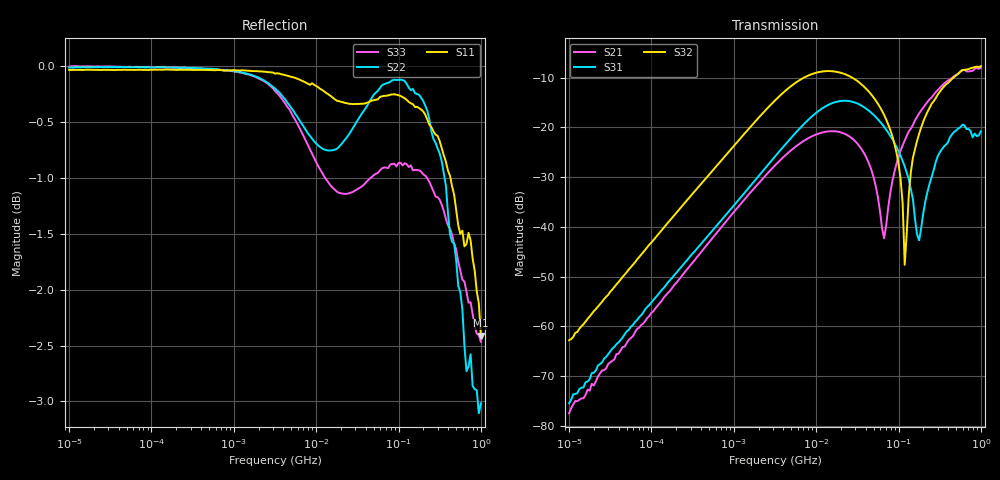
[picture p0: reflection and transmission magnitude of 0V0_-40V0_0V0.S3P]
!Keysight Technologies,E5080A,MY55100144,A.11.70.03
!Date: Monday, November 13, 2017 17:21:34
!Correction: S11(Full 3 Port(1,2,3))
!S12(Full 3 Port(1,2,3))
!S13(Full 3 Port(1,2,3))
!S21(Full 3 Port(1,2,3))
!S22(Full 3 Port(1,2,3))
!S23(Full 3 Port(1,2,3))
!S31(Full 3 Port(1,2,3))
!S32(Full 3 Port(1,2,3))
!S33(Full 3 Port(1,2,3))
!S3P File: Measurements: <S11,S12,S13>,
!<S21,S22,S23>,
!<S31,S32,S33>:Log Frequency Sweep
# Hz S  RI  R 50
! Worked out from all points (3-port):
!   201 points, 10 kHz to 1 GHz, reference 50 ohm
!   strongest paths, dB at 10 kHz, 177.8 kHz, 3.162 MHz, 56.23 MHz, 1 GHz:
!     S32: -62.8, -38.2, -14.6, -15.3, -7.7
!     S31: -75.5, -50.3, -25.9, -18.4, -20.8
!     S21: -77.5, -52.3, -27.6, -34.1, -8.0
!   lowest |S11| = -2.4 dB at 1 GHz (marker M1), VSWR 7.25, Z = 362 + j14 ohm
!   |S11| at or under -10 dB: nowhere
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10000  0.9963 -0.000789  -1.02e-06 0.000142  3.05e-06 0.000166
       7.69e-07 0.000133  0.9987 -0.00319  -8.03e-06 0.000713
       1.17e-05 0.000167  3.62e-06 0.000722  0.9996 -0.00245
3162278  0.92 -0.3721  0.0183 0.0372  0.014 0.0491
         0.0183 0.0372  0.6969 -0.6852  0.0966 0.1601
         0.0139 0.049  0.0968 0.16  0.9348 -0.2764
1.496236e7  0.0724 -0.9672  0.091 0.0102  0.1624 0.0597
            0.0911 0.0101  -0.5335 -0.7457  0.3681 -0.0252
            0.1624 0.0595  0.368 -0.0252  0.4149 -0.781
4.731513e7  -0.823 -0.5042  0.0263 -0.025  0.0949 -0.1018
            0.0264 -0.0251  -0.9535 -0.1672  0.1096 -0.1809
            0.0948 -0.1019  0.1096 -0.1809  -0.5347 -0.7142
6.683439e7  -0.9284 -0.281  0.00717 0.00284  0.0434 -0.0918
            0.00713 0.00282  -0.9814 0.0265  0.0366 -0.1285
            0.0434 -0.0918  0.0366 -0.1285  -0.7444 -0.5076
1e8  -0.9702 -0.0281  0.00757 0.05  0.00797 -0.0572
     0.00763 0.05  -0.9492 0.267  -0.000511 -0.0432
     0.00796 -0.0572  -0.000411 -0.0432  -0.8755 -0.23
1.188502e8  -0.964 0.0822  0.0181 0.0716  0.00182 -0.0406
            0.0182 0.0718  -0.9094 0.3783  -0.000444 -0.00413
            0.00175 -0.0406  -0.000448 -0.00413  -0.8987 -0.1065
1.995262e8  -0.8574 0.4198  0.0957 0.1262  0.0132 0.00372
            0.0958 0.1262  -0.6523 0.711  0.0639 0.0949
            0.0131 0.00381  0.0639 0.0948  -0.8535 0.2681
5.956621e8  0.1747 0.8259  0.3098 -0.2181  0.0543 -0.0916
            0.3098 -0.2186  0.6231 0.4669  0.3255 -0.1886
            0.0542 -0.0917  0.3254 -0.1882  0.0105 0.8026
1e9  0.7574 0.00826  -0.0929 -0.3871  -0.0565 -0.0718
     -0.0936 -0.3869  0.5908 -0.3874  -0.0446 -0.411
     -0.0566 -0.0718  -0.0443 -0.4111  0.686 0.3102
